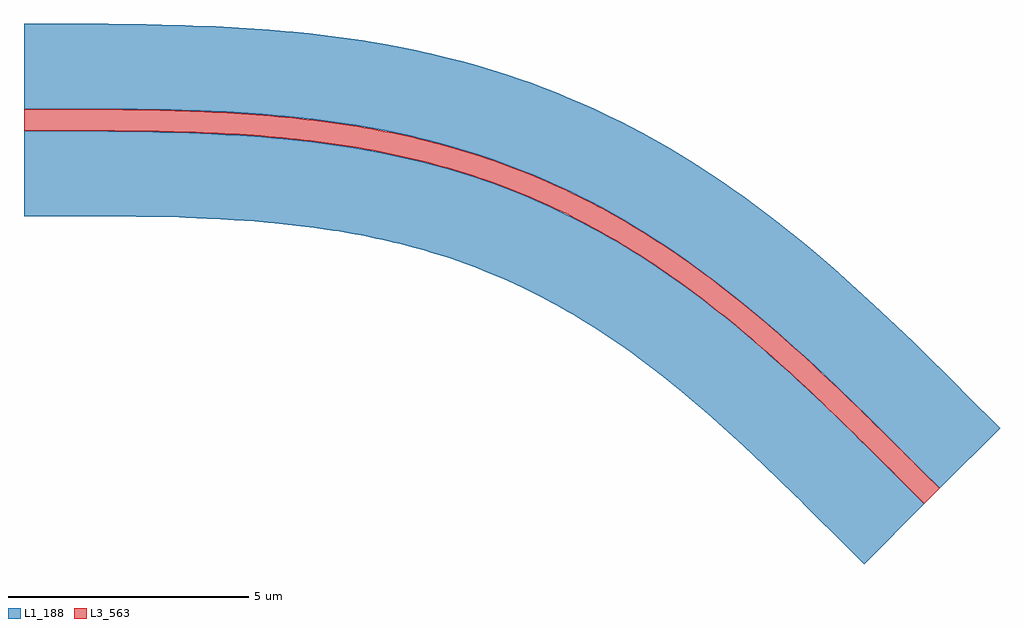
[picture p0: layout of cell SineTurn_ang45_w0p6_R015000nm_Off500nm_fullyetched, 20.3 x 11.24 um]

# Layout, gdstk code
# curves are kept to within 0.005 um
import gdstk
lib = gdstk.Library(unit=1e-6, precision=1e-09)
def P(c, l, *ps):  # polygons
    for p in ps: c.add(gdstk.Polygon(p, *l))
L1_188 = (1, 188)
L3_563 = (3, 563)

sineturn_ang45_w0p6_r015 = lib.new_cell('SineTurn_ang45_w0p6_R015000nm_Off500nm_fullyetched')
P(sineturn_ang45_w0p6_r015, L1_188, [(16.973,-9.237),(15.751,-8.018),(14.889,-7.181),(14.462,-6.778),(14.035,-6.389),(13.719,-6.109),(13.181,-5.653),(12.755,-5.31),(12.324,-4.982),(12.007,-4.752),(11.571,-4.454),(11.247,-4.245),(10.912,-4.042),(10.584,-3.855),(10.146,-3.623),(9.693,-3.404),(9.232,-3.203),(8.649,-2.978),(8.187,-2.822),(7.576,-2.643),(7.083,-2.52),(6.574,-2.411),(5.932,-2.299),(5.259,-2.205),(4.578,-2.134),(3.874,-2.08),(3.308,-2.049),(2.726,-2.027),(1.832,-2.008),(-0.5,-2),(-0.5,-0.225),(1.858,-0.233),(2.778,-0.253),(3.689,-0.291),(4.439,-0.34),(5.181,-0.41),(5.766,-0.481),(6.345,-0.567),(6.917,-0.67),(7.619,-0.823),(8.311,-1.005),(8.854,-1.172),(9.255,-1.309),(9.915,-1.565),(10.434,-1.791),(11.07,-2.102),(11.695,-2.444),(12.064,-2.664),(12.307,-2.815),(12.789,-3.134),(13.146,-3.384),(13.616,-3.732),(14.311,-4.284),(14.882,-4.768),(15.22,-5.068),(15.668,-5.476),(16.113,-5.895),(16.996,-6.753),(18.228,-7.982)],
  [(18.546,-7.664),(17.312,-6.433),(16.423,-5.569),(15.52,-4.732),(15.176,-4.428),(14.597,-3.936),(14.127,-3.558),(13.649,-3.194),(13.286,-2.932),(12.797,-2.597),(12.424,-2.357),(12.047,-2.128),(11.536,-1.84),(11.147,-1.636),(10.622,-1.383),(10.089,-1.149),(9.409,-0.887),(8.855,-0.699),(8.152,-0.494),(7.725,-0.385),(7.003,-0.228),(6.419,-0.123),(5.975,-0.055),(5.229,0.038),(4.475,0.108),(3.713,0.159),(2.792,0.197),(1.864,0.217),(-0.5,0.225),(-0.5,2),(1.89,1.992),(3.01,1.966),(3.809,1.931),(4.614,1.878),(5.419,1.803),(6.059,1.725),(6.708,1.628),(7.346,1.513),(8.139,1.341),(8.612,1.221),(9.387,0.994),(10.015,0.782),(10.772,0.489),(11.363,0.23),(11.946,-0.051),(12.377,-0.277),(12.802,-0.514),(13.363,-0.851),(13.775,-1.116),(14.307,-1.48),(14.706,-1.768),(15.476,-2.363),(15.977,-2.776),(16.339,-3.087),(17.18,-3.844),(17.647,-4.283),(18.335,-4.95),(19.801,-6.409)])
sineturn_ang45_w0p6_r015.add(gdstk.FlexPath([(-0.5,0),(0,0),(0.155,0),(0.311,0),(0.466,0),(0.621,0),(0.776,-0.001),(0.932,-0.001),(1.087,-0.002),(1.242,-0.002),(1.397,-0.004),(1.551,-0.005),(1.706,-0.006),(1.861,-0.008),(2.015,-0.011),(2.169,-0.013),(2.323,-0.016),(2.477,-0.02),(2.631,-0.024),(2.785,-0.028),(2.938,-0.033),(3.091,-0.039),(3.244,-0.045),(3.396,-0.051),(3.549,-0.059),(3.701,-0.066),(3.853,-0.075),(4.004,-0.084),(4.155,-0.094),(4.306,-0.105),(4.457,-0.116),(4.607,-0.129),(4.757,-0.142),(4.907,-0.156),(5.056,-0.171),(5.205,-0.186),(5.353,-0.203),(5.501,-0.22),(5.649,-0.239),(5.796,-0.258),(5.943,-0.278),(6.09,-0.3),(6.236,-0.322),(6.382,-0.345),(6.527,-0.37),(6.672,-0.395),(6.816,-0.422),(6.96,-0.449),(7.103,-0.478),(7.246,-0.508),(7.389,-0.539),(7.531,-0.571),(7.672,-0.604),(7.814,-0.639),(7.954,-0.675),(8.094,-0.711),(8.234,-0.75),(8.373,-0.789),(8.511,-0.829),(8.649,-0.871),(8.787,-0.914),(8.924,-0.958),(9.061,-1.004),(9.197,-1.05),(9.332,-1.098),(9.467,-1.148),(9.601,-1.198),(9.735,-1.25),(9.869,-1.303),(10.002,-1.357),(10.134,-1.413),(10.266,-1.47),(10.397,-1.528),(10.528,-1.587),(10.658,-1.648),(10.788,-1.71),(10.917,-1.773),(11.046,-1.837),(11.174,-1.903),(11.301,-1.97),(11.429,-2.038),(11.555,-2.107),(11.681,-2.178),(11.807,-2.249),(11.932,-2.322),(12.057,-2.397),(12.181,-2.472),(12.305,-2.548),(12.428,-2.626),(12.55,-2.705),(12.673,-2.785),(12.794,-2.866),(12.916,-2.948),(13.037,-3.032),(13.157,-3.116),(13.277,-3.201),(13.396,-3.288),(13.515,-3.375),(13.634,-3.464),(13.752,-3.553),(13.87,-3.644),(13.988,-3.735),(14.105,-3.828),(14.222,-3.921),(14.338,-4.015),(14.454,-4.11),(14.569,-4.206),(14.685,-4.303),(14.8,-4.401),(14.914,-4.499),(15.029,-4.598),(15.143,-4.698),(15.256,-4.799),(15.37,-4.9),(15.483,-5.002),(15.596,-5.104),(15.708,-5.208),(15.821,-5.311),(15.933,-5.416),(16.045,-5.521),(16.156,-5.626),(16.268,-5.732),(16.379,-5.838),(16.49,-5.945),(16.601,-6.052),(16.712,-6.16),(16.823,-6.268),(16.933,-6.376),(17.043,-6.485),(17.154,-6.593),(17.264,-6.702),(17.374,-6.812),(17.484,-6.921),(17.594,-7.031),(17.704,-7.14),(17.814,-7.25),(17.924,-7.36),(18.034,-7.47),(18.387,-7.823)], 0.45, ends="flush", simple_path=True, layer=3, datatype=563))  # L3_563

lib.write_gds('SineTurn_ang45_w0p6_R015000nm_Off500nm_fullyetched.gds')
